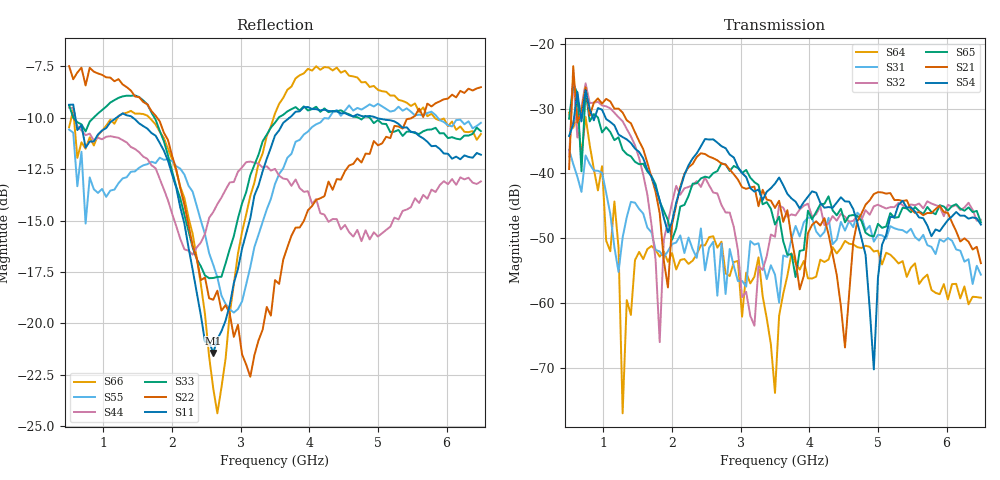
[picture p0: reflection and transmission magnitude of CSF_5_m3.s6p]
!Keysight Technologies,M9804A,MY58100912,A.14.10.03
!Date: Thursday, April 27, 2023 10:28:33
!Correction: S11(C  6-Port  )
!S12(C  6-Port  )
!S13(C  6-Port  )
!S14(C  6-Port  )
!S15(C  6-Port  )
!S16(C  6-Port  )
!S21(C  6-Port  )
!S22(C  6-Port  )
!S23(C  6-Port  )
!S24(C  6-Port  )
!S25(C  6-Port  )
!S26(C  6-Port  )
!S31(C  6-Port  )
!S32(C  6-Port  )
!S33(C  6-Port  )
!S34(C  6-Port  )
!S35(C  6-Port  )
!S36(C  6-Port  )
!S41(C  6-Port  )
!S42(C  6-Port  )
!S43(C  6-Port  )
!S44(C  6-Port  )
!S45(C  6-Port  )
!S46(C  6-Port  )
!S51(C  6-Port  )
!S52(C  6-Port  )
!S53(C  6-Port  )
!S54(C  6-Port  )
!S55(C  6-Port  )
!S56(C  6-Port  )
!S61(C  6-Port  )
!S62(C  6-Port  )
!S63(C  6-Port  )
!S64(C  6-Port  )
!S65(C  6-Port  )
!S66(C  6-Port  )
!S6P File: Measurement: :
# Hz S  RI  R 50
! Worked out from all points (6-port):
!   101 points, 500 MHz to 6.5 GHz, reference 50 ohm
!   strongest paths, dB at 500 MHz, 2 GHz, 3.5 GHz, 5 GHz, 6.5 GHz:
!     S54: -34.2, -47.4, -41.6, -56.1, -47.9
!     S21: -39.3, -47.9, -45.3, -42.9, -53.9
!     S65: -31.5, -50.2, -47.9, -47.8, -47.6
!     S32: -37.4, -44.5, -49.8, -44.8, -47.2
!     S31: -36.3, -50.9, -55.6, -49.5, -55.6
!     S64: -30.6, -52.3, -73.9, -51.9, -59.2
!   lowest |S11| = -21.4 dB at 2.6 GHz (marker M1), VSWR 1.19, Z = 42.5 + j2.17 ohm
!   |S11| at or under -10 dB: 590.9 MHz to 1.191 GHz (599.7 MHz wide, 67.3 % of centre); 1.429 GHz to 3.712 GHz (2.282 GHz wide, 88.8 % of centre); 4.974 GHz to end of sweep
